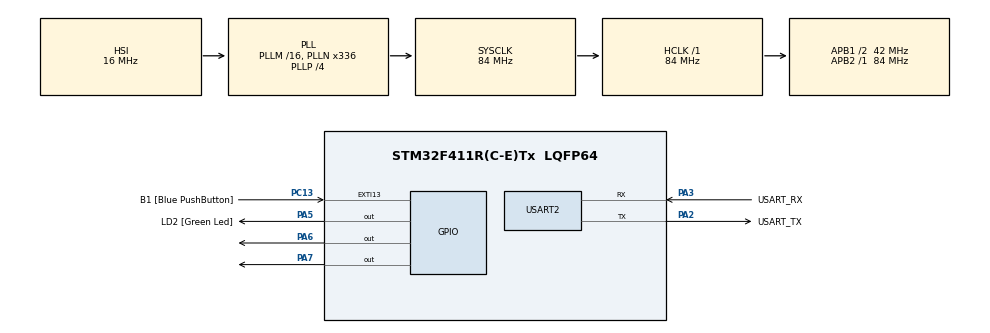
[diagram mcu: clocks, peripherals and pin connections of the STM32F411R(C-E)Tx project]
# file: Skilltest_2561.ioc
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Mcu.Family=STM32F4
Mcu.Name=STM32F411R(C-E)Tx
Mcu.Package=LQFP64
NVIC.EXTI15_10_IRQn=true\:2\:0\:true\:false\:true\:true\:true\:true
NVIC.PriorityGroup=NVIC_PRIORITYGROUP_2
PA13.GPIO_Label=TMS
PA13.Mode=Serial_Wire
PA13.Signal=SYS_JTMS-SWDIO
PA14.GPIO_Label=TCK
PA14.Mode=Serial_Wire
PA14.Signal=SYS_JTCK-SWCLK
PA2.GPIO_Label=USART_TX
PA2.Mode=Asynchronous
PA2.Signal=USART2_TX
PA3.GPIO_Label=USART_RX
PA3.Mode=Asynchronous
PA3.Signal=USART2_RX
PA5.GPIO_Label=LD2 [Green Led]
PA5.Signal=GPIO_Output
PA6.Signal=GPIO_Output
PA7.Signal=GPIO_Output
PB3.GPIO_Label=SWO
PB3.Signal=SYS_JTDO-SWO
PC13-ANTI_TAMP.GPIO_Label=B1 [Blue PushButton]
PC13-ANTI_TAMP.GPIO_ModeDefaultEXTI=GPIO_MODE_IT_RISING
PC13-ANTI_TAMP.Signal=GPXTI13
PC14-OSC32_IN.Mode=LSE-External-Oscillator
PC14-OSC32_IN.Signal=RCC_OSC32_IN
PC15-OSC32_OUT.Mode=LSE-External-Oscillator
PC15-OSC32_OUT.Signal=RCC_OSC32_OUT
PH0\ -\ OSC_IN.Mode=HSE-External-Clock-Source
PH0\ -\ OSC_IN.Signal=RCC_OSC_IN
PH1\ -\ OSC_OUT.Mode=HSE-External-Clock-Source
PH1\ -\ OSC_OUT.Signal=RCC_OSC_OUT
ProjectManager.HeapSize=0x200
ProjectManager.StackSize=0x400
ProjectManager.TargetToolchain=STM32CubeIDE
RCC.48MHZClocksFreq_Value=84000000
RCC.AHBFreq_Value=84000000
RCC.APB1CLKDivider=RCC_HCLK_DIV2
RCC.APB1Freq_Value=42000000
RCC.APB1TimFreq_Value=84000000
RCC.APB2Freq_Value=84000000
RCC.APB2TimFreq_Value=84000000
RCC.CortexFreq_Value=84000000
RCC.FLatency-AdvancedSettings=FLASH_LATENCY_2
RCC.HCLKFreq_Value=84000000
RCC.HSE_VALUE=8000000
RCC.HSI_VALUE=16000000
RCC.PLLN=336
RCC.PLLP=RCC_PLLP_DIV4
RCC.SYSCLKFreq_VALUE=84000000
RCC.SYSCLKSource=RCC_SYSCLKSOURCE_PLLCLK
RCC.VCOOutputFreq_Value=336000000
USART2.VirtualMode=VM_ASYNC
board=NUCLEO-F411RE

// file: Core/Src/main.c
/* USER CODE BEGIN Header */
/**
  ******************************************************************************
  * @file           : main.c
  * @brief          : Main program body
  ******************************************************************************
  * @attention
  *
  * Copyright (c) 2024 STMicroelectronics.
  * All rights reserved.
  *
  * This software is licensed under terms that can be found in the LICENSE file
  * in the root directory of this software component.
  * If no LICENSE file comes with this software, it is provided AS-IS.
  *
  ******************************************************************************
  */
/* USER CODE END Header */
#include "main.h"

/* USER CODE BEGIN Includes */
#include<string.h>
/* USER CODE END Includes */

UART_HandleTypeDef huart2;

void SystemClock_Config(void);
static void MX_GPIO_Init(void);
static void MX_USART2_UART_Init(void);

/* USER CODE BEGIN 0 */
int state = 0;
int lastTick = -1000;
void HAL_GPIO_EXTI_Callback(uint16_t GPIO_Pin) {
	int tick = HAL_GetTick();
	if(tick - lastTick < 100) {
		return;
	}
	lastTick = tick;
	state = (state + 1) % 3;
	char msg[] = "state = ";
	HAL_UART_Transmit(&huart2, msg, strlen(msg), 100);
	if(state==0) HAL_UART_Transmit(&huart2, "0", 1, 100);
	if(state==1) HAL_UART_Transmit(&huart2, "1", 1, 100);
	if(state==2) HAL_UART_Transmit(&huart2, "2", 1, 100);
	HAL_UART_Transmit(&huart2, "\r\n", 2, 100);

	HAL_GPIO_WritePin(GPIOA, GPIO_PIN_5, GPIO_PIN_RESET);
	HAL_GPIO_WritePin(GPIOA, GPIO_PIN_6, GPIO_PIN_RESET);
	HAL_GPIO_WritePin(GPIOA, GPIO_PIN_7, GPIO_PIN_RESET);
}
/* USER CODE END 0 */

int main(void)
{

  /* MCU Configuration--------------------------------------------------------*/

  /* Reset of all peripherals, Initializes the Flash interface and the Systick. */
  HAL_Init();

  /* Configure the system clock */
  SystemClock_Config();

  /* Initialize all configured peripherals */
  MX_GPIO_Init();
  MX_USART2_UART_Init();

  /* Infinite loop */
  /* USER CODE BEGIN WHILE */
  while (1)
  {
//	  if(!HAL_GPIO_ReadPin(GPIOC, GPIO_PIN_13)) {
//		  state = (state+1) % 3;
//		  HAL_GPIO_WritePin(GPIOA, GPIO_PIN_5, GPIO_PIN_RESET);
//		  HAL_GPIO_WritePin(GPIOA, GPIO_PIN_6, GPIO_PIN_RESET);
//		  HAL_GPIO_WritePin(GPIOA, GPIO_PIN_7, GPIO_PIN_RESET);
//		  while(!HAL_GPIO_ReadPin(GPIOC, GPIO_PIN_13)) {}
//	  }

	  if(state == 0) {
		  HAL_GPIO_TogglePin(GPIOA, GPIO_PIN_5);
		  HAL_GPIO_TogglePin(GPIOA, GPIO_PIN_6);
		  HAL_GPIO_TogglePin(GPIOA, GPIO_PIN_7);
	  } else  if(state == 1) {
		  HAL_GPIO_TogglePin(GPIOA, GPIO_PIN_5);
	  } else  if(state == 2) {
		  HAL_GPIO_TogglePin(GPIOA, GPIO_PIN_5);
		  HAL_GPIO_TogglePin(GPIOA, GPIO_PIN_6);
	  }
	  HAL_Delay(500);
    /* USER CODE END WHILE */

  }
}

void SystemClock_Config(void)
{
  RCC_OscInitTypeDef RCC_OscInitStruct = {0};
  RCC_ClkInitTypeDef RCC_ClkInitStruct = {0};

  /** Configure the main internal regulator output voltage
  */
  __HAL_RCC_PWR_CLK_ENABLE();
  __HAL_PWR_VOLTAGESCALING_CONFIG(PWR_REGULATOR_VOLTAGE_SCALE1);

  /** Initializes the RCC Oscillators according to the specified parameters
  * in the RCC_OscInitTypeDef structure.
  */
  RCC_OscInitStruct.OscillatorType = RCC_OSCILLATORTYPE_HSI;
  RCC_OscInitStruct.HSIState = RCC_HSI_ON;
  RCC_OscInitStruct.HSICalibrationValue = RCC_HSICALIBRATION_DEFAULT;
  RCC_OscInitStruct.PLL.PLLState = RCC_PLL_ON;
  RCC_OscInitStruct.PLL.PLLSource = RCC_PLLSOURCE_HSI;
  RCC_OscInitStruct.PLL.PLLM = 16;
  RCC_OscInitStruct.PLL.PLLN = 336;
  RCC_OscInitStruct.PLL.PLLP = RCC_PLLP_DIV4;
  RCC_OscInitStruct.PLL.PLLQ = 4;
  if (HAL_RCC_OscConfig(&RCC_OscInitStruct) != HAL_OK)
  {
    Error_Handler();
  }

  /** Initializes the CPU, AHB and APB buses clocks
  */
  RCC_ClkInitStruct.ClockType = RCC_CLOCKTYPE_HCLK|RCC_CLOCKTYPE_SYSCLK
                              |RCC_CLOCKTYPE_PCLK1|RCC_CLOCKTYPE_PCLK2;
  RCC_ClkInitStruct.SYSCLKSource = RCC_SYSCLKSOURCE_PLLCLK;
  RCC_ClkInitStruct.AHBCLKDivider = RCC_SYSCLK_DIV1;
  RCC_ClkInitStruct.APB1CLKDivider = RCC_HCLK_DIV2;
  RCC_ClkInitStruct.APB2CLKDivider = RCC_HCLK_DIV1;

  if (HAL_RCC_ClockConfig(&RCC_ClkInitStruct, FLASH_LATENCY_2) != HAL_OK)
  {
    Error_Handler();
  }
}

static void MX_USART2_UART_Init(void)
{

  huart2.Instance = USART2;
  huart2.Init.BaudRate = 115200;
  huart2.Init.WordLength = UART_WORDLENGTH_8B;
  huart2.Init.StopBits = UART_STOPBITS_1;
  huart2.Init.Parity = UART_PARITY_NONE;
  huart2.Init.Mode = UART_MODE_TX_RX;
  huart2.Init.HwFlowCtl = UART_HWCONTROL_NONE;
  huart2.Init.OverSampling = UART_OVERSAMPLING_16;
  if (HAL_UART_Init(&huart2) != HAL_OK)
  {
    Error_Handler();
  }

}

static void MX_GPIO_Init(void)
{
  GPIO_InitTypeDef GPIO_InitStruct = {0};

  /* GPIO Ports Clock Enable */
  __HAL_RCC_GPIOC_CLK_ENABLE();
  __HAL_RCC_GPIOH_CLK_ENABLE();
  __HAL_RCC_GPIOA_CLK_ENABLE();
  __HAL_RCC_GPIOB_CLK_ENABLE();

  /*Configure GPIO pin Output Level */
  HAL_GPIO_WritePin(GPIOA, LD2_Pin|GPIO_PIN_6|GPIO_PIN_7, GPIO_PIN_RESET);

  /*Configure GPIO pin : B1_Pin */
  GPIO_InitStruct.Pin = B1_Pin;
  GPIO_InitStruct.Mode = GPIO_MODE_IT_RISING;
  GPIO_InitStruct.Pull = GPIO_NOPULL;
  HAL_GPIO_Init(B1_GPIO_Port, &GPIO_InitStruct);

  /*Configure GPIO pins : LD2_Pin PA6 PA7 */
  GPIO_InitStruct.Pin = LD2_Pin|GPIO_PIN_6|GPIO_PIN_7;
  GPIO_InitStruct.Mode = GPIO_MODE_OUTPUT_PP;
  GPIO_InitStruct.Pull = GPIO_NOPULL;
  GPIO_InitStruct.Speed = GPIO_SPEED_FREQ_LOW;
  HAL_GPIO_Init(GPIOA, &GPIO_InitStruct);

  /* EXTI interrupt init*/
  HAL_NVIC_SetPriority(EXTI15_10_IRQn, 2, 0);
  HAL_NVIC_EnableIRQ(EXTI15_10_IRQn);

}

void Error_Handler(void)
{
  __disable_irq();
  while (1)
  {
  }
}
